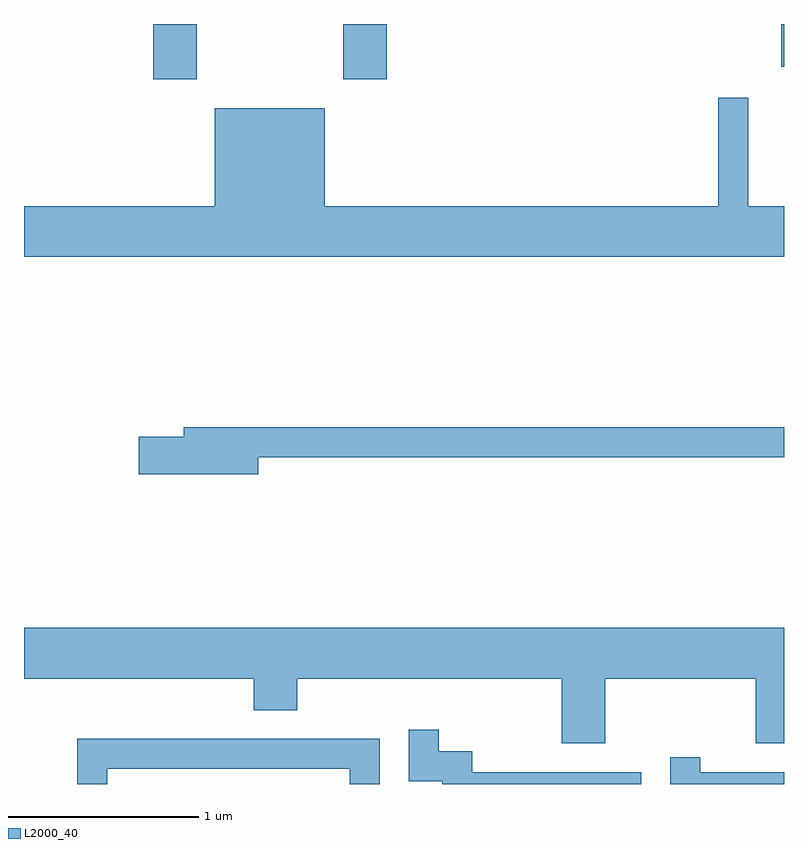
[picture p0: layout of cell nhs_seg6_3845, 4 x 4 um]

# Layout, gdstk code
import gdstk
lib = gdstk.Library(unit=1e-6, precision=1e-09)
def R(c, l, rs):  # rectangles x0, y0, x1, y1
    for r in rs: c.add(gdstk.rectangle(r[:2], r[2:], *l))
def P(c, l, *ps):  # polygons
    for p in ps: c.add(gdstk.Polygon(p, *l))
L2000_40 = (2000, 40)

nhs_seg6_3845 = lib.new_cell('nhs_seg6_3845')
R(nhs_seg6_3845, L2000_40, [(302.291,1539.871,302.519,1540.162), (303.291,1539.871,303.519,1540.162), (305.596,1539.936,305.611,1540.162)])
P(nhs_seg6_3845, L2000_40, [(305.611,1539.204),(305.424,1539.204),(305.424,1539.773),(305.266,1539.773),(305.266,1539.204),(303.194,1539.204),(303.194,1539.719),(302.616,1539.719),(302.616,1539.204),(301.611,1539.204),(301.611,1538.936),(305.611,1538.936)],
  [(302.844,1537.881),(305.611,1537.881),(305.611,1538.039),(302.451,1538.039),(302.451,1537.989),(302.216,1537.989),(302.216,1537.791),(302.844,1537.791)],
  [(304.669,1536.716),(305.461,1536.716),(305.461,1536.376),(305.611,1536.376),(305.611,1536.984),(301.611,1536.984),(301.611,1536.716),(302.821,1536.716),(302.821,1536.551),(303.049,1536.551),(303.049,1536.716),(304.441,1536.716),(304.441,1536.376),(304.669,1536.376)],
  [(304.859,1536.224),(303.969,1536.224),(303.969,1536.334),(303.794,1536.334),(303.794,1536.448),(303.636,1536.448),(303.636,1536.176),(303.811,1536.176),(303.811,1536.162),(304.859,1536.162)],
  [(302.049,1536.241),(303.326,1536.241),(303.326,1536.162),(303.484,1536.162),(303.484,1536.399),(301.891,1536.399),(301.891,1536.162),(302.049,1536.162)],
  [(305.611,1536.224),(305.169,1536.224),(305.169,1536.303),(305.011,1536.303),(305.011,1536.162),(305.611,1536.162)])

lib.write_gds('nhs_seg6_3845.gds')
